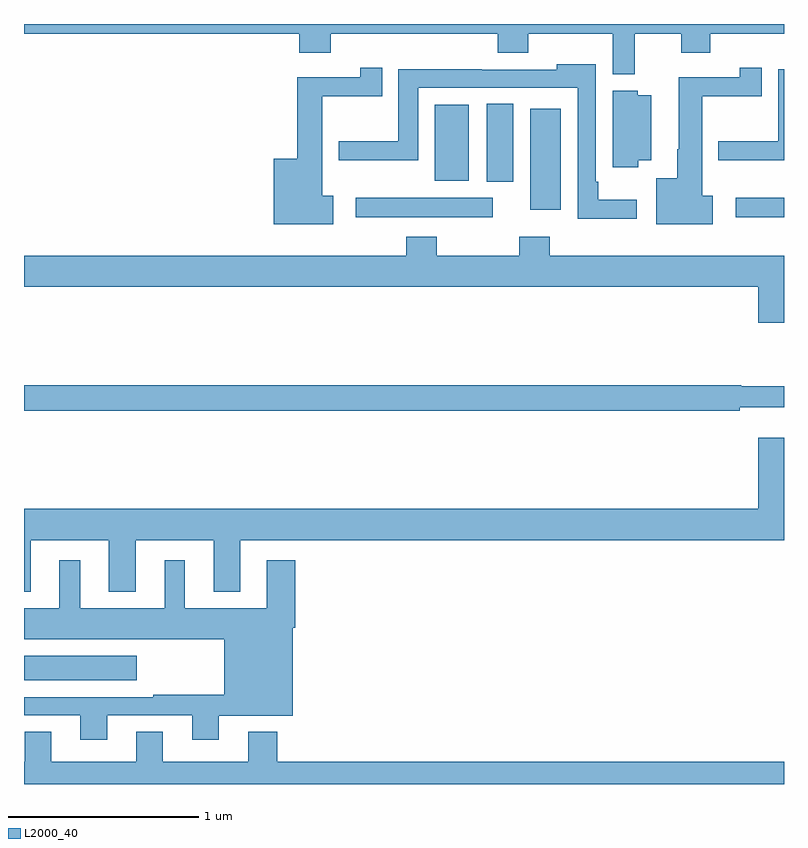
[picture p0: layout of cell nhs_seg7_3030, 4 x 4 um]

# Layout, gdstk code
import gdstk
lib = gdstk.Library(unit=1e-6, precision=1e-09)
def R(c, l, rs):  # rectangles x0, y0, x1, y1
    for r in rs: c.add(gdstk.rectangle(r[:2], r[2:], *l))
def P(c, l, *ps):  # polygons
    for p in ps: c.add(gdstk.Polygon(p, *l))
L2000_40 = (2000, 40)

nhs_seg7_3030 = lib.new_cell('nhs_seg7_3030')
R(nhs_seg7_3030, L2000_40, [(305,998.546,305.593,998.674), (306.747,1000.982,307.468,1001.086), (308.745,1000.982,309,1001.086), (307.664,1001.022,307.825,1001.554), (307.436,1001.171,307.576,1001.579), (307.163,1001.174,307.342,1001.575)])
P(nhs_seg7_3030, L2000_40, [(308.215,1001.948),(308.459,1001.948),(308.459,1001.849),(308.612,1001.849),(308.612,1001.948),(309,1001.948),(309,1002),(305,1002),(305,1001.948),(306.449,1001.948),(306.449,1001.849),(306.614,1001.849),(306.614,1001.948),(307.493,1001.948),(307.493,1001.849),(307.653,1001.849),(307.653,1001.948),(308.099,1001.948),(308.099,1001.735),(308.215,1001.735)],
  [(308.224,1001.074),(308.023,1001.074),(308.023,1001.17),(308.01,1001.17),(308.01,1001.788),(307.803,1001.788),(307.803,1001.76),(307.409,1001.76),(307.409,1001.762),(306.971,1001.762),(306.971,1001.382),(306.656,1001.382),(306.656,1001.282),(307.075,1001.282),(307.075,1001.664),(307.914,1001.664),(307.914,1000.976),(308.224,1000.976)],
  [(308.626,1001.096),(308.569,1001.096),(308.569,1001.62),(308.884,1001.62),(308.884,1001.77),(308.767,1001.77),(308.767,1001.719),(308.447,1001.719),(308.447,1001.34),(308.438,1001.34),(308.438,1001.188),(308.327,1001.188),(308.327,1000.946),(308.626,1000.946)],
  [(306.628,1001.096),(306.571,1001.096),(306.571,1001.62),(306.886,1001.62),(306.886,1001.77),(306.769,1001.77),(306.769,1001.719),(306.437,1001.719),(306.437,1001.29),(306.314,1001.29),(306.314,1000.946),(306.628,1000.946)],
  [(309,1001.762),(308.969,1001.762),(308.969,1001.382),(308.654,1001.382),(308.654,1001.282),(309,1001.282)],
  [(308.233,1001.282),(308.302,1001.282),(308.302,1001.626),(308.229,1001.626),(308.229,1001.65),(308.099,1001.65),(308.099,1001.246),(308.233,1001.246)],
  [(308.864,1000.428),(309,1000.428),(309,1000.78),(307.766,1000.78),(307.766,1000.879),(307.606,1000.879),(307.606,1000.78),(307.173,1000.78),(307.173,1000.879),(307.013,1000.879),(307.013,1000.78),(305,1000.78),(305,1000.616),(308.864,1000.616)],
  [(308.768,999.983),(309,999.983),(309,1000.093),(308.776,1000.093),(308.776,1000.1),(305,1000.1),(305,999.964),(308.768,999.964)],
  [(305.035,999.284),(305.447,999.284),(305.447,999.011),(305.587,999.011),(305.587,999.284),(305.999,999.284),(305.999,999.011),(306.139,999.011),(306.139,999.284),(309,999.284),(309,999.823),(308.864,999.823),(308.864,999.448),(305,999.448),(305,999.011),(305.035,999.011)],
  [(305.437,998.361),(305.885,998.361),(305.885,998.232),(306.025,998.232),(306.025,998.36),(306.415,998.36),(306.415,998.822),(306.428,998.822),(306.428,999.178),(306.278,999.178),(306.278,998.926),(305.845,998.926),(305.845,999.178),(305.741,999.178),(305.741,998.926),(305.296,998.926),(305.296,999.178),(305.186,999.178),(305.186,998.926),(305,998.926),(305,998.762),(306.053,998.762),(306.053,998.47),(305.68,998.47),(305.68,998.457),(305,998.457),(305,998.361),(305.297,998.361),(305.297,998.232),(305.437,998.232)],
  [(309,998.116),(306.332,998.116),(306.332,998.275),(306.179,998.275),(306.179,998.116),(305.731,998.116),(305.731,998.276),(305.591,998.276),(305.591,998.116),(305.143,998.116),(305.143,998.276),(305.003,998.276),(305.003,998.116),(305,998.116),(305,998),(309,998)])

lib.write_gds('nhs_seg7_3030.gds')
